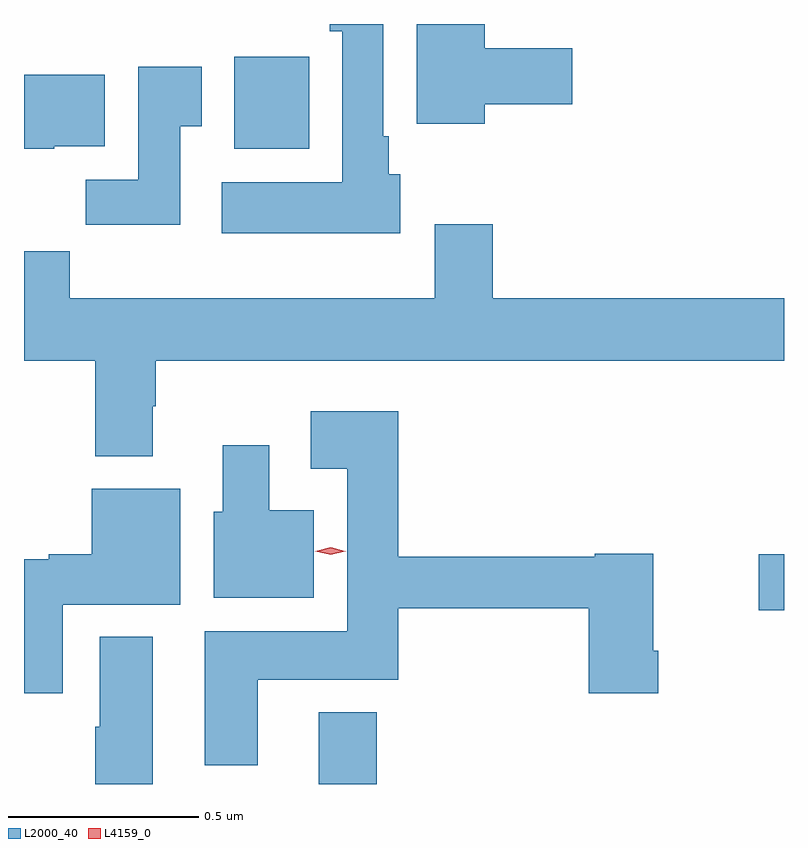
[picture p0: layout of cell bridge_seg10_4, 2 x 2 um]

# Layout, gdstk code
import gdstk
lib = gdstk.Library(unit=1e-6, precision=1e-09)
def R(c, l, rs):  # rectangles x0, y0, x1, y1
    for r in rs: c.add(gdstk.rectangle(r[:2], r[2:], *l))
def P(c, l, *ps):  # polygons
    for p in ps: c.add(gdstk.Polygon(p, *l))
L2000_40 = (2000, 40)
L4159_0 = (4159, 0)

bridge_seg10_4 = lib.new_cell('bridge_seg10_4')
R(bridge_seg10_4, L2000_40, [(1071.713,1249.918,1071.866,1250.107), (1072.872,1250.375,1072.938,1250.522), (1071.491,1251.59,1071.688,1251.832)])
P(bridge_seg10_4, L2000_40, [(1071.928,1251.522),(1071.898,1251.522),(1071.898,1251.622),(1071.883,1251.622),(1071.883,1251.918),(1071.743,1251.918),(1071.743,1251.899),(1071.776,1251.899),(1071.776,1251.502),(1071.459,1251.502),(1071.459,1251.368),(1071.928,1251.368)],
  [(1072.15,1251.707),(1072.381,1251.707),(1072.381,1251.854),(1072.15,1251.854),(1072.15,1251.918),(1071.971,1251.918),(1071.971,1251.656),(1072.15,1251.656)],
  [(1071.349,1251.649),(1071.406,1251.649),(1071.406,1251.805),(1071.239,1251.805),(1071.239,1251.508),(1071.1,1251.508),(1071.1,1251.39),(1071.349,1251.39)],
  [(1071.018,1251.596),(1071.151,1251.596),(1071.151,1251.784),(1070.938,1251.784),(1070.938,1251.59),(1071.018,1251.59)],
  [(1071.277,1250.912),(1071.285,1250.912),(1071.285,1251.032),(1072.938,1251.032),(1072.938,1251.196),(1072.172,1251.196),(1072.172,1251.391),(1072.019,1251.391),(1072.019,1251.196),(1071.059,1251.196),(1071.059,1251.32),(1070.938,1251.32),(1070.938,1251.032),(1071.125,1251.032),(1071.125,1250.78),(1071.277,1250.78)],
  [(1071.553,1250.192),(1071.923,1250.192),(1071.923,1250.38),(1072.424,1250.38),(1072.424,1250.157),(1072.607,1250.157),(1072.607,1250.269),(1072.594,1250.269),(1072.594,1250.524),(1072.44,1250.524),(1072.44,1250.516),(1071.923,1250.516),(1071.923,1250.899),(1071.693,1250.899),(1071.693,1250.747),(1071.788,1250.747),(1071.788,1250.32),(1071.413,1250.32),(1071.413,1249.968),(1071.553,1249.968)],
  [(1071.7,1250.638),(1071.583,1250.638),(1071.583,1250.809),(1071.461,1250.809),(1071.461,1250.634),(1071.437,1250.634),(1071.437,1250.408),(1071.7,1250.408)],
  [(1071.04,1250.39),(1071.349,1250.39),(1071.349,1250.695),(1071.116,1250.695),(1071.116,1250.522),(1071.003,1250.522),(1071.003,1250.509),(1070.938,1250.509),(1070.938,1250.157),(1071.04,1250.157)],
  [(1071.277,1250.305),(1071.137,1250.305),(1071.137,1250.069),(1071.125,1250.069),(1071.125,1249.918),(1071.277,1249.918)])
P(bridge_seg10_4, L4159_0, [(1071.745,1250.521),(1071.705,1250.53),(1071.705,1250.531),(1071.705,1250.531),(1071.745,1250.541),(1071.784,1250.531),(1071.785,1250.531),(1071.784,1250.531)])

lib.write_gds('bridge_seg10_4.gds')
